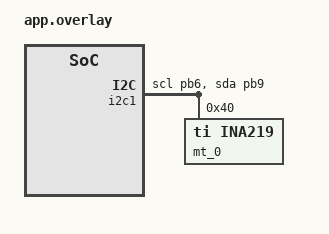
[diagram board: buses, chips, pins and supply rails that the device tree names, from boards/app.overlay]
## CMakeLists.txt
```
cmake_minimum_required(VERSION 3.20)

find_package(Zephyr REQUIRED HINTS $ENV{ZEPHYR_BASE})
project(wattmeter)
target_include_directories(app PUBLIC ${CMAKE_CURRENT_SOURCE_DIR}/include)
target_sources(app PRIVATE src/main.c src/watt.c)
```

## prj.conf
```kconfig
CONFIG_I2C=y
CONFIG_SENSOR=y
CONFIG_INA219=y
CONFIG_CONSOLE_SUBSYS=y
CONFIG_CONSOLE_GETLINE=y
CONFIG_UART_LINE_CTRL=y
CONFIG_UART_INTERRUPT_DRIVEN=y
CONFIG_PRINTK=y
```

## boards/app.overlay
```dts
/ {
  aliases {
    wattmeter=&mt_0;
  };

};
&pinctrl { 
  i2c1_scl_pb6: i2c1_scl_pb6{
    pinmux=<STM32_PINMUX('B',6,AF4)>;
    bias-pull-up;
  };
  i2c1_sda_pb9: i2c1_sda_pb9{
    pinmux=<STM32_PINMUX('B',9,AF4)>;
    bias-pull-up;
  };
};
&i2c1 {
  status="okay";
  pinctrl-0=<&i2c1_scl_pb6 &i2c1_sda_pb9>;
  pinctrl-names="default";
  mt_0: mt_0@40{
    compatible="ti,ina219";
    status="okay";
    lsb-microamp=<244>;
    shunt-milliohm=<10>;
    reg=<0x40>;

  };
};
```

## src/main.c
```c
#include <stdio.h>
#include <zephyr/drivers/sensor.h>
#include <zephyr/kernel.h>
#include <zephyr/device.h>
#include <zephyr/drivers/i2c.h>
//#include "watt.h"
static const struct device *watt_meter0=DEVICE_DT_GET(DT_ALIAS(wattmeter));
struct sensor_value current,voltage,power;
const int multimeter_value=1000;
const int ina219_reading =1000;
int main(){
  printk("Starting the program hello \n");
  int wattmeter_ret;
  //uint16_t cal=0;
  //cal=callibration(multimeter_value,ina219_reading);
  //ina219_write_reg(watt_meter0,cal);
  if(!device_is_ready(watt_meter0)){
    printk("INA219 Device is not ready \n");
    
    return -1;
  }
  while(1){
    wattmeter_ret=sensor_sample_fetch(watt_meter0);
    if(sensor_sample_fetch(watt_meter0)<0){
      printk("Not able to configure the wttmeter\n");
    }
    wattmeter_ret=sensor_channel_get(watt_meter0,SENSOR_CHAN_POWER,&power);
    wattmeter_ret=sensor_channel_get(watt_meter0,SENSOR_CHAN_VOLTAGE,&voltage);
    wattmeter_ret=sensor_channel_get(watt_meter0,SENSOR_CHAN_CURRENT,&current);
    printk("Value of power : %d.%d\n",power.val1,power.val2/1000);
    printk("Value of current : %d.%d\n",current.val1,current.val2/1000);
    printk("Value of voltage : %d.%d\n",voltage.val1,voltage.val2/1000);
    k_msleep(1000);
  }
}
```

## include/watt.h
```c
#ifndef WATT_H
#define WATT_H
#include <zephyr/kernel.h>
#include <zephyr/device.h>
uint16_t callibration(int multimeter_reading_ma , int ina219_reading_ma);
//int ina219_write_reg(const struct device *dev , uint16_t status);

#endif
```

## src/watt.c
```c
#include <stdio.h>
#include <stdlib.h>
#include <zephyr/kernel.h>
#include <zephyr/drivers/i2c.h>
#include <zephyr/device.h>
#include <zephyr/sys/byteorder.h>
#include "watt.h"
uint16_t cal_value=4096;
/*
int ina219_write_reg(const struct device *dev , uint16_t cal){
  const struct ina219_config *cfg =dev->config;
  uint8_t buf[3];
  buf[0]=0x05;
  sys_put_be16(cal,&buf[1]);
  return i2c_write_dt(&cfg->bus,buf,sizeof(buf));
};
*/ 
uint16_t calibration(int a , int b){
  float factor=a/b;
  cal_value= (uint16_t)(factor * cal_value) & 0xFFFE;
  return cal_value;
};
```
